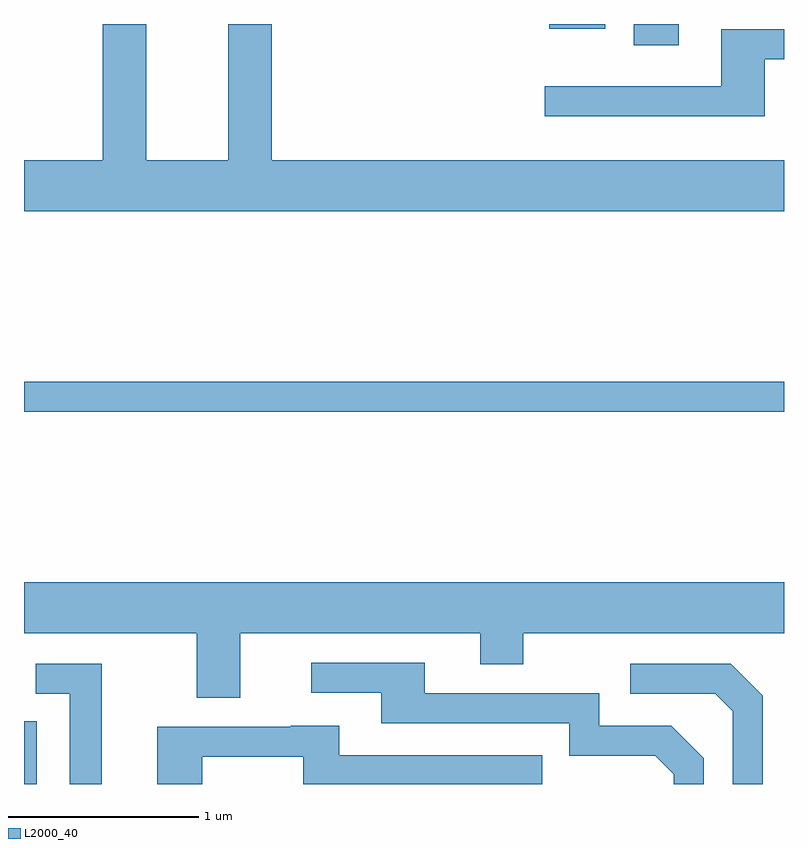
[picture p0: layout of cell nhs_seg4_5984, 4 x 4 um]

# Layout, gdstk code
import gdstk
lib = gdstk.Library(unit=1e-6, precision=1e-09)
def R(c, l, rs):  # rectangles x0, y0, x1, y1
    for r in rs: c.add(gdstk.rectangle(r[:2], r[2:], *l))
def P(c, l, *ps):  # polygons
    for p in ps: c.add(gdstk.Polygon(p, *l))
L2000_40 = (2000, 40)

nhs_seg4_5984 = lib.new_cell('nhs_seg4_5984')
R(nhs_seg4_5984, L2000_40, [(361.611,1253.982,361.679,1254.313), (361.611,1255.941,365.611,1256.099), (364.821,1257.871,365.058,1257.982), (364.376,1257.956,364.669,1257.982)])
P(nhs_seg4_5984, L2000_40, [(365.611,1257.264),(362.914,1257.264),(362.914,1257.982),(362.686,1257.982),(362.686,1257.264),(362.254,1257.264),(362.254,1257.982),(362.026,1257.982),(362.026,1257.264),(361.611,1257.264),(361.611,1256.996),(365.611,1256.996)],
  [(365.509,1257.796),(365.611,1257.796),(365.611,1257.954),(365.281,1257.954),(365.281,1257.654),(364.353,1257.654),(364.353,1257.496),(365.509,1257.496)],
  [(362.749,1254.776),(364.011,1254.776),(364.011,1254.611),(364.239,1254.611),(364.239,1254.776),(365.611,1254.776),(365.611,1255.044),(361.611,1255.044),(361.611,1254.776),(362.521,1254.776),(362.521,1254.436),(362.749,1254.436)],
  [(365.189,1254.117),(365.017,1254.289),(364.639,1254.289),(364.639,1254.459),(363.719,1254.459),(363.719,1254.619),(363.123,1254.619),(363.123,1254.461),(363.491,1254.461),(363.491,1254.301),(364.481,1254.301),(364.481,1254.131),(364.934,1254.131),(365.031,1254.034),(365.031,1253.982),(365.189,1253.982)],
  [(365.499,1254.447),(365.332,1254.614),(364.803,1254.614),(364.803,1254.456),(365.249,1254.456),(365.341,1254.364),(365.341,1253.982),(365.499,1253.982)],
  [(362.019,1254.614),(361.673,1254.614),(361.673,1254.456),(361.851,1254.456),(361.851,1253.982),(362.019,1253.982)],
  [(362.549,1254.126),(363.081,1254.126),(363.081,1253.982),(364.338,1253.982),(364.338,1254.134),(363.269,1254.134),(363.269,1254.289),(363.015,1254.289),(363.015,1254.284),(362.311,1254.284),(362.311,1253.982),(362.549,1253.982)])

lib.write_gds('nhs_seg4_5984.gds')
